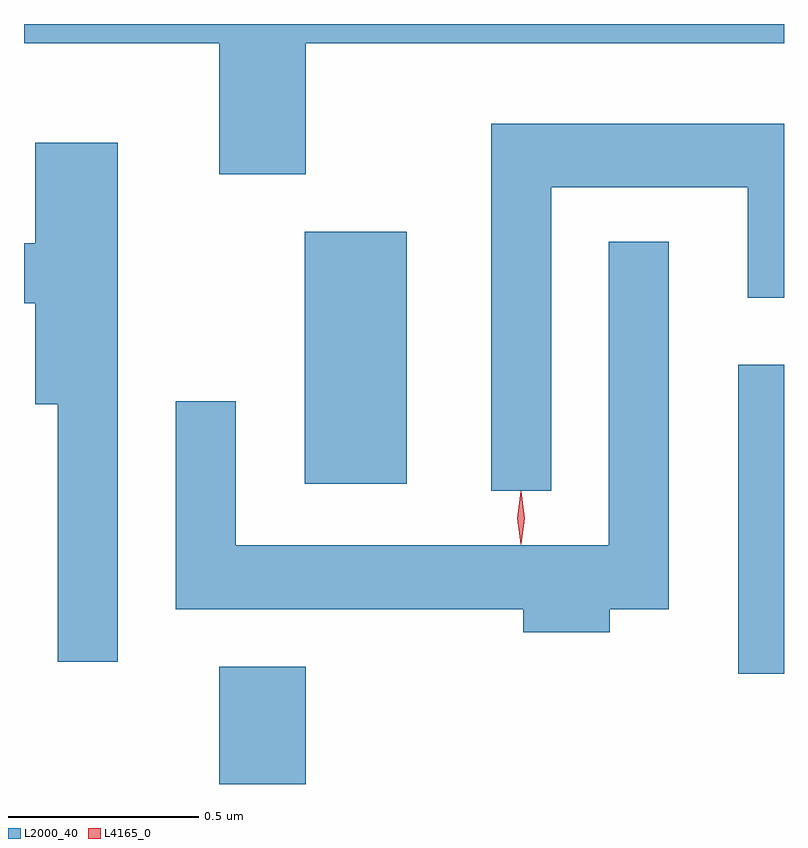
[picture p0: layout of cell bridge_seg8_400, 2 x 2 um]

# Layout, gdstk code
import gdstk
lib = gdstk.Library(unit=1e-6, precision=1e-09)
def R(c, l, rs):  # rectangles x0, y0, x1, y1
    for r in rs: c.add(gdstk.rectangle(r[:2], r[2:], *l))
def P(c, l, *ps):  # polygons
    for p in ps: c.add(gdstk.Polygon(p, *l))
L2000_40 = (2000, 40)
L4165_0 = (4165, 0)

bridge_seg8_400 = lib.new_cell('bridge_seg8_400')
R(bridge_seg8_400, L2000_40, [(682.351,1903.286,682.579,1903.594), (683.716,1903.576,683.837,1904.389), (682.576,1904.076,682.844,1904.739)])
P(bridge_seg8_400, L2000_40, [(682.579,1905.236),(683.837,1905.236),(683.837,1905.286),(681.837,1905.286),(681.837,1905.236),(682.351,1905.236),(682.351,1904.891),(682.579,1904.891)],
  [(683.224,1904.856),(683.741,1904.856),(683.741,1904.566),(683.837,1904.566),(683.837,1905.024),(683.066,1905.024),(683.066,1904.058),(683.224,1904.058)],
  [(682.084,1904.974),(681.866,1904.974),(681.866,1904.709),(681.837,1904.709),(681.837,1904.551),(681.866,1904.551),(681.866,1904.286),(681.926,1904.286),(681.926,1903.608),(682.084,1903.608)],
  [(683.379,1903.746),(683.534,1903.746),(683.534,1904.713),(683.376,1904.713),(683.376,1903.914),(682.394,1903.914),(682.394,1904.293),(682.236,1904.293),(682.236,1903.746),(683.151,1903.746),(683.151,1903.686),(683.379,1903.686)])
P(bridge_seg8_400, L4165_0, [(683.144,1903.917),(683.135,1903.986),(683.144,1904.056),(683.145,1904.056),(683.145,1904.056),(683.155,1903.986),(683.145,1903.917),(683.145,1903.917)],
  [(683.145,1903.919),(683.144,1903.92),(683.135,1903.986),(683.144,1904.052),(683.145,1904.053),(683.145,1904.052),(683.155,1903.986),(683.145,1903.92)])

lib.write_gds('bridge_seg8_400.gds')
